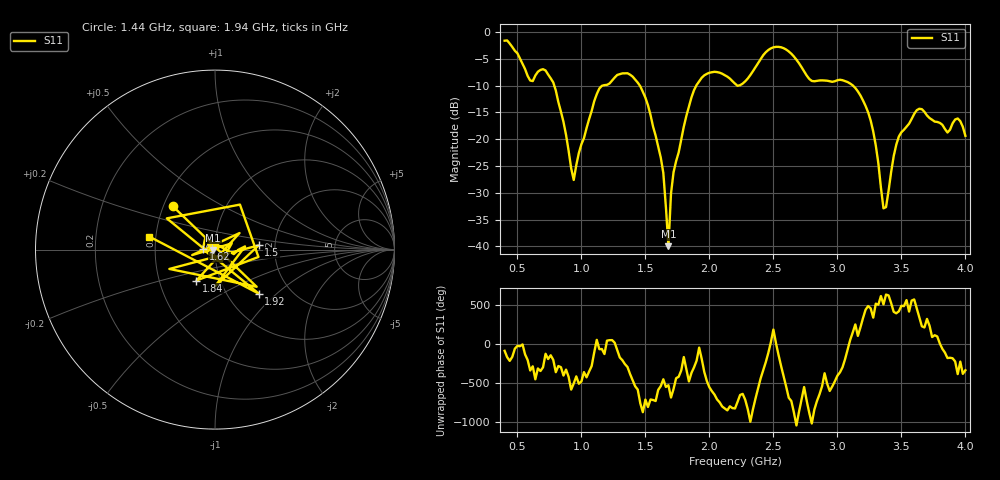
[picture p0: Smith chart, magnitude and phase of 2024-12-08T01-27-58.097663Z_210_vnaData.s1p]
!Created with skrf (http://scikit-rf.org).
# Hz S RI R 50.0
!freq ReS11 ImS11
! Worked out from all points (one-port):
!   181 points, 400 MHz to 4 GHz, reference 50 ohm
!   lowest |S11| = -40.0 dB at 1.68 GHz (marker M1), VSWR 1.02, Z = 49 - j0.175 ohm
!   |S11| at or under -10 dB: 787.7 MHz to 1.168 GHz (379.9 MHz wide, 38.9 % of centre); 1.456 GHz to 1.898 GHz (441.9 MHz wide, 26.4 % of centre); 3.121 GHz to end of sweep (the widest 3 of 4)
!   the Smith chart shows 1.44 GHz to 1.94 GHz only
!   S11 on the Smith chart (normalised r, x): 1.44 GHz: 0.56, +0.30; 1.5 GHz: 1.64, +0.08; 1.62 GHz: 0.87, +0.00; 1.84 GHz: 0.77, -0.28; 1.92 GHz: 1.39, -0.78; 1.94 GHz: 0.46, +0.08
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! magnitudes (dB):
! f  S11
! 400 MHz  -1.6
! 600 MHz  -9.1
! 720 MHz  -7.2
! 860 MHz  -16.8
! 940 MHz  -27.6
! 1.12 GHz  -11.6
! 1.3 GHz  -7.9
! 1.44 GHz  -9.4
! 1.5 GHz  -12.3
! 1.62 GHz  -23.4
! 1.64 GHz  -26.3
! 1.68 GHz  -40.0
! 1.7 GHz  -30.2
! 1.76 GHz  -22.5
! 1.84 GHz  -13.9
! 1.92 GHz  -9.2
! 1.94 GHz  -8.5
! 2.2 GHz  -9.6
! 2.48 GHz  -3.1
! 2.66 GHz  -4.6
! 2.8 GHz  -9.1
! 3.1 GHz  -9.6
! 3.26 GHz  -16.5
! 3.36 GHz  -32.9
! 3.46 GHz  -21.0
! 3.56 GHz  -17.1
! 3.66 GHz  -14.4
! 4 GHz  -19.4
